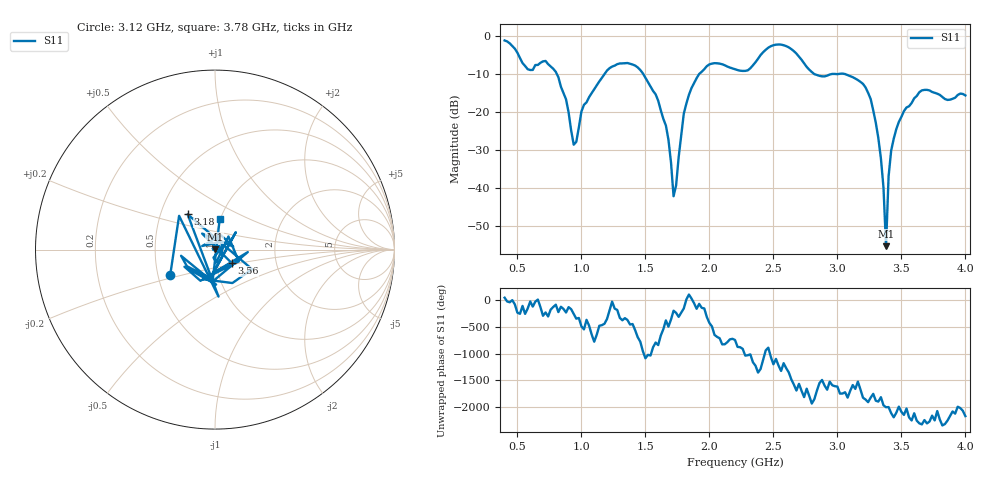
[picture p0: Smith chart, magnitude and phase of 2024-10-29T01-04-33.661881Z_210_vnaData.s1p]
!Created with skrf (http://scikit-rf.org).
# Hz S RI R 50.0
!freq ReS11 ImS11
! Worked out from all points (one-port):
!   181 points, 400 MHz to 4 GHz, reference 50 ohm
!   lowest |S11| = -55.3 dB at 3.38 GHz (marker M1), VSWR 1.00, Z = 49.8 + j0.0794 ohm
!   |S11| at or under -10 dB: 807.7 MHz to 1.181 GHz (373.6 MHz wide, 37.6 % of centre); 1.483 GHz to 1.921 GHz (438 MHz wide, 25.7 % of centre); 3.053 GHz to end of sweep (the widest 3 of 4)
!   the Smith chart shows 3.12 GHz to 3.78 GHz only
!   S11 on the Smith chart (normalised r, x): 3.12 GHz: 0.58, -0.18; 3.18 GHz: 0.69, +0.29; 3.56 GHz: 1.19, -0.18; 3.78 GHz: 0.99, +0.35
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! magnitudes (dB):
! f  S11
! 400 MHz  -1.2
! 580 MHz  -8.8
! 720 MHz  -6.6
! 860 MHz  -15.1
! 940 MHz  -28.6
! 1.02 GHz  -18.1
! 1.3 GHz  -7.3
! 1.58 GHz  -15.4
! 1.68 GHz  -27.3
! 1.72 GHz  -42.1
! 1.76 GHz  -31.8
! 1.8 GHz  -20.4
! 1.92 GHz  -10.0
! 2.2 GHz  -8.8
! 2.66 GHz  -4.0
! 2.82 GHz  -10.1
! 3.1 GHz  -10.6
! 3.12 GHz  -10.9
! 3.18 GHz  -12.1
! 3.26 GHz  -16.6
! 3.32 GHz  -26.9
! 3.36 GHz  -39.8
! 3.38 GHz  -55.3
! 3.4 GHz  -36.9
! 3.42 GHz  -30.2
! 3.56 GHz  -18.5
! 3.78 GHz  -15.2
! 4 GHz  -15.6
